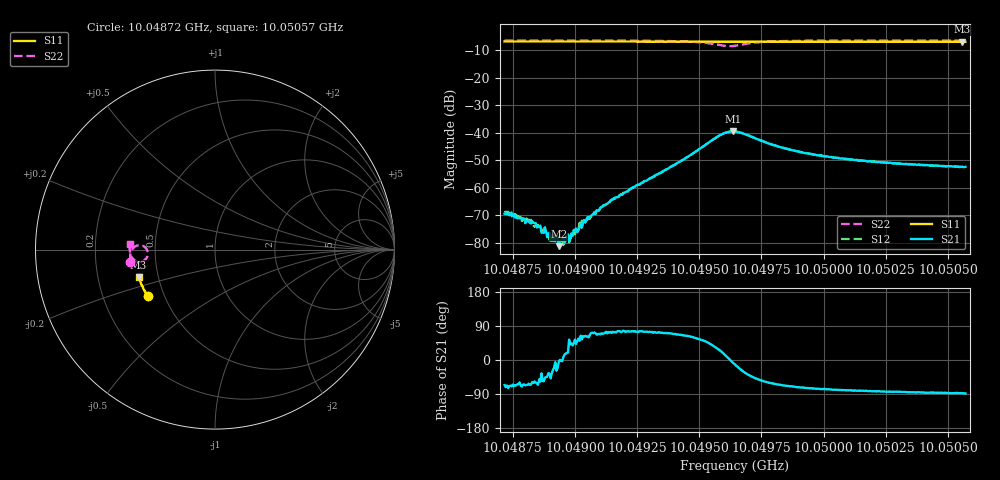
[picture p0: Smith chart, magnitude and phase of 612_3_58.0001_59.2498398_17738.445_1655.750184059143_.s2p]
#  HZ  S  RI  R  50.00
! Rohde & Schwarz Vector Network Analyzer
! Rohde-Schwarz,ZNB20-2Port,1311601062101988,3.16
! Created: UTC 3/21/2024, 1:17:47 AM
! freq[Hz]  re:S11  im:S11  re:S21  im:S21  re:S12  im:S12  re:S22  im:S22
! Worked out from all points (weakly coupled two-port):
!   401 points, 10.04872 GHz to 10.05057 GHz, reference 50 ohm
!   highest |S21| = -39.51 dB at 10.04963 GHz (marker M1); lowest = -81.2 dB at 10.04893 GHz (marker M2)
!   lowest |S11| = -6.9 dB at 10.05056 GHz (marker M3), VSWR 2.65, Z = 19.3 - j7.44 ohm
!   |S11| at or under -10 dB: nowhere
!   |S22| runs from -8.5 to -6.4 dB; largest |S21 - S12| = 0.00079
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1.0048717e10  -0.3735 -0.261  0.000136 -0.000311  0.000166 -0.000312  -0.4712 -0.0703
1.0048814e10  -0.377 -0.2555  0.000114 -0.00022  0.000154 -0.000217  -0.472 -0.0629
1.0048833e10  -0.3777 -0.2545  0.000113 -0.000203  0.000112 -0.000173  -0.4721 -0.0615
1.0048865e10  -0.3787 -0.2526  0.000125 -8.8e-05  0.000118 -0.000113  -0.4723 -0.0588
1.0048888e10  -0.3797 -0.2513  9.12e-05 -8.78e-05  0.000126 -8.81e-05  -0.4723 -0.057
1.0048898e10  -0.3799 -0.2508  0.000124 -9.05e-05  9.38e-05 -6.07e-05  -0.4725 -0.0563
1.0048912e10  -0.3803 -0.2499  9.82e-05 -4.92e-05  8.7e-05 -6.28e-05  -0.4725 -0.0551
1.0048935e10  -0.3812 -0.2486  8.67e-05 -8.12e-06  8.85e-05 -1.7e-05  -0.4725 -0.0532
1.0048967e10  -0.3823 -0.2468  0.000108 3.56e-05  0.000125 4.96e-05  -0.4727 -0.0503
1.0048986e10  -0.3829 -0.2458  0.000107 0.000104  9.5e-05 0.000103  -0.4725 -0.0488
1.0049004e10  -0.3835 -0.2447  0.000136 0.000123  7.53e-05 0.000154  -0.4727 -0.0472
1.0049027e10  -0.3843 -0.2434  0.000109 0.000153  0.00015 0.000204  -0.4727 -0.0451
1.0049152e10  -0.3884 -0.2362  0.000166 0.000604  0.000112 0.000602  -0.4723 -0.0333
1.0049338e10  -0.3944 -0.2255  0.000524 0.00175  0.000449 0.00174  -0.4675 -0.0106
1.0049579e10  -0.4009 -0.211  0.00782 0.00404  0.00754 0.00453  -0.3947 0.0169
1.0049634e10  -0.4022 -0.2083  0.0105 -0.00121  0.0106 -0.000469  -0.3756 -0.0332
1.0049643e10  -0.4023 -0.2078  0.0103 -0.00223  0.0104 -0.00148  -0.3792 -0.0426
1.0049829e10  -0.4084 -0.1973  0.00221 -0.00494  0.00256 -0.00483  -0.4616 -0.0465
1.0049954e10  -0.4118 -0.1898  0.00108 -0.00392  0.00133 -0.00387  -0.4708 -0.0264
1.0050264e10  -0.4194 -0.1708  0.000331 -0.00282  0.000501 -0.0028  -0.4752 0.0058
1.0050556e10  -0.4258 -0.1529  0.000103 -0.0024  0.000233 -0.00239  -0.4749 0.0292
1.005057e10  -0.4262 -0.152  6.3e-05 -0.00241  0.000214 -0.00243  -0.4748 0.0303
